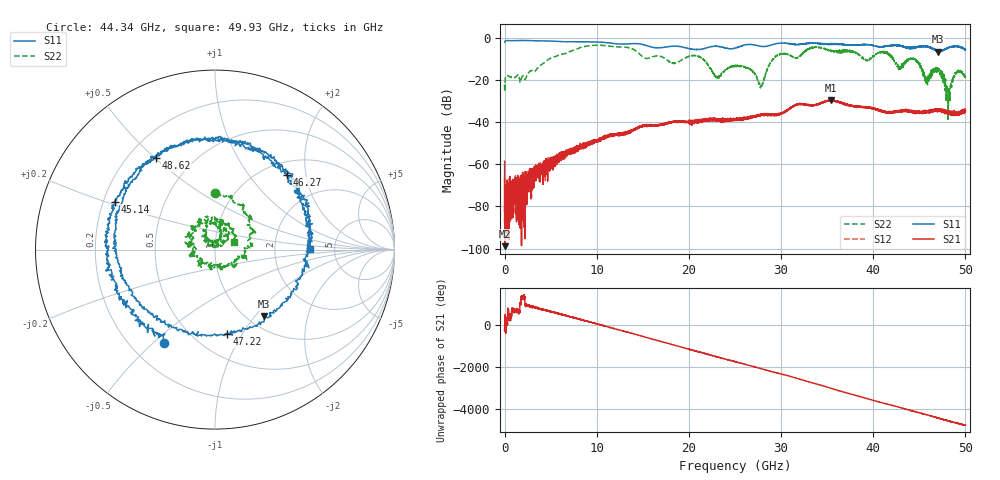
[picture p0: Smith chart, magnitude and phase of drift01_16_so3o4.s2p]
!Created with skrf (http://scikit-rf.org).
# Hz S RI R 50.0
!freq ReS11 ImS11 ReS21 ImS21 ReS12 ImS12 ReS22 ImS22
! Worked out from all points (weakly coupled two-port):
!   10001 points, 300 kHz to 50 GHz, reference 50 ohm
!   highest |S21| = -29.57 dB at 35.44 GHz (marker M1); lowest = -98.9 dB at 50.3 MHz (marker M2)
!   lowest |S11| = -6.7 dB at 47.03 GHz (marker M3), VSWR 2.72, Z = 59 - j55.8 ohm
!   |S11| at or under -10 dB: nowhere
!   |S22| runs from -39.5 to -3.6 dB; largest |S21 - S12| = 0.0041
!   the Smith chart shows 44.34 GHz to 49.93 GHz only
!   S11 on the Smith chart (normalised r, x): 44.34 GHz: 0.34, -0.54; 45.14 GHz: 0.25, +0.21; 46.27 GHz: 1.25, +1.57; 47.22 GHz: 0.71, -0.86; 48.62 GHz: 0.31, +0.50; 49.93 GHz: 3.26, +0.02
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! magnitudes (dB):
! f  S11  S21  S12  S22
! 300 kHz  -2.1  -58.6  -66.2  -22.2
! 50.3 MHz  -1.6  -98.9  -72.9  -20.5
! 320.3 MHz  -1.4  -77.7  -75.4  -18.0
! 8.335 GHz  -1.9  -51.0  -52.5  -4.5
! 16.67 GHz  -4.8  -41.6  -41.5  -8.7
! 20.97 GHz  -5.7  -39.8  -39.8  -8.8
! 23.07 GHz  -4.1  -38.4  -39.1  -18.7
! 25 GHz  -5.0  -39.1  -38.9  -13.5
! 27.84 GHz  -4.1  -36.7  -36.3  -22.7
! 29.47 GHz  -2.9  -36.6  -36.5  -8.8
! 33.34 GHz  -2.6  -32.2  -32.0  -4.8
! 35.44 GHz  -3.0  -29.6  -29.7  -6.3
! 41.67 GHz  -3.9  -35.3  -35.5  -7.6
! 44.34 GHz  -4.5  -35.1  -35.2  -10.0
! 45.14 GHz  -4.2  -35.2  -35.6  -14.1
! 46.27 GHz  -4.7  -34.6  -34.8  -16.4
! 47.03 GHz  -6.7  -34.6  -34.4  -15.5
! 47.22 GHz  -6.4  -34.8  -34.1  -17.0
! 48.12 GHz  -4.9  -35.8  -35.2  -34.8
! 48.62 GHz  -4.3  -36.3  -35.8  -20.1
! 49.93 GHz  -5.5  -34.0  -34.8  -18.8
! 50 GHz  -5.6  -34.9  -35.1  -18.6
